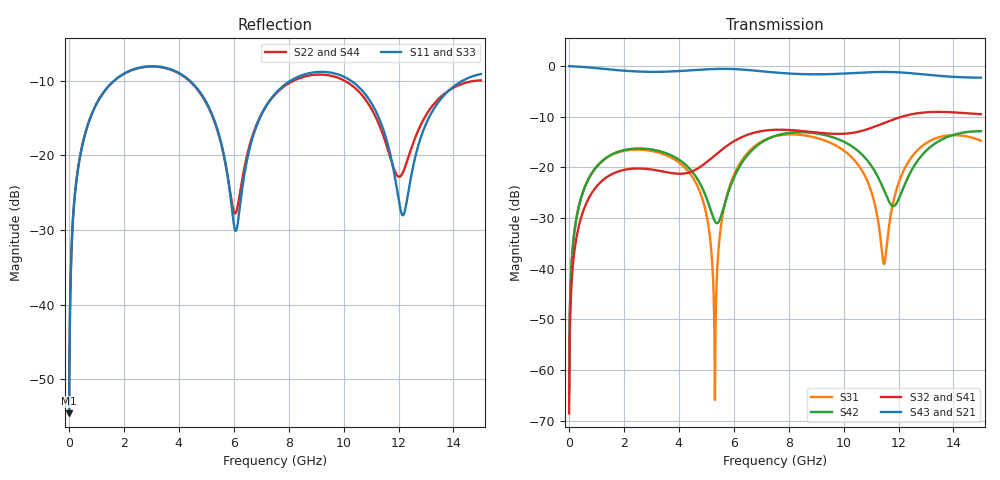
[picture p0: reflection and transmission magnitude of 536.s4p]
! Created with skrf 1.8.0 (http://scikit-rf.org).
# GHz S RI R 50.0
!freq ReS11 ImS11 ReS12 ImS12 ReS13 ImS13
! ReS14 ImS14
! ReS21 ImS21 ReS22 ImS22 ReS23 ImS23
! ReS24 ImS24
! ReS31 ImS31 ReS32 ImS32 ReS33 ImS33
! ReS34 ImS34
! ReS41 ImS41 ReS42 ImS42 ReS43 ImS43
! ReS44 ImS44
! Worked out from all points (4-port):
!   2499 points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, 5 MHz to 15 GHz, reference 50 ohm
!   strongest paths, dB at 5 MHz, 3.476 GHz, 7.19 GHz, 11.1 GHz, 15 GHz:
!     S43: 0.0, -1.1, -1.1, -1.2, -2.3
!     S21: 0.0, -1.1, -1.1, -1.2, -2.3
!     S32: -68.6, -20.9, -12.7, -12.0, -9.5
!     S41: -68.6, -20.9, -12.7, -12.0, -9.5
!     S42: -64.6, -17.1, -14.5, -20.4, -12.8
!     S31: -64.6, -17.5, -14.4, -26.4, -14.7
!   lowest |S11| = -54.6 dB at 5 MHz (marker M1), VSWR 1.00, Z = 50.1 + j0.113 ohm
!   |S11| at or under -10 dB: start of sweep to 1.636 GHz; 4.408 GHz to 8.06 GHz (3.652 GHz wide, 58.6 % of centre); 10.28 GHz to 14.33 GHz (4.05 GHz wide, 32.9 % of centre)
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0.005  0.00148 0.00113  0.9985 -0.00289  7.38e-05 0.000583  -7.18e-05 -0.000366
       0.9985 -0.00289  0.00148 0.00113  -7.18e-05 -0.000366  7.39e-05 0.000583
       7.38e-05 0.000583  -7.18e-05 -0.000366  0.00148 0.00113  0.9985 -0.00289
       -7.18e-05 -0.000366  7.39e-05 0.000583  0.9985 -0.00289  0.00148 0.00113
1.519383  0.2349 0.1894  0.6243 -0.6821  0.1094 0.0722  -0.0825 -0.0182
          0.6243 -0.6821  0.2332 0.1903  -0.0826 -0.0181  0.1149 0.0661
          0.1094 0.0722  -0.0826 -0.0181  0.2348 0.1894  0.6244 -0.682
          -0.0825 -0.0182  0.1149 0.0661  0.6244 -0.682  0.2332 0.1902
4.495455  0.2378 -0.1913  -0.5635 -0.7152  0.0592 -0.0543  -0.0508 0.0757
          -0.5635 -0.7152  0.2414 -0.1814  -0.05 0.0767  0.0396 -0.0809
          0.0592 -0.0543  -0.05 0.0767  0.2373 -0.1906  -0.5637 -0.7153
          -0.0508 0.0757  0.0396 -0.0809  -0.5637 -0.7153  0.2407 -0.1813
5.314714  0.0851 -0.1449  -0.8354 -0.4235  0.00048 0.000159  -0.0564 0.119
          -0.8354 -0.4235  0.0926 -0.1363  -0.0548 0.1198  -0.025 -0.0154
          0.00048 0.000159  -0.0548 0.1198  0.0848 -0.1439  -0.8356 -0.4235
          -0.0564 0.119  -0.025 -0.0154  -0.8356 -0.4235  0.092 -0.1355
6.915381  0.1149 0.1282  -0.8231 0.3511  0.1104 0.1337  0.1185 0.1915
          -0.8231 0.3511  0.1218 0.1254  0.1211 0.1904  0.1079 0.13
          0.1104 0.1337  0.1211 0.1904  0.1143 0.1287  -0.8232 0.3508
          0.1185 0.1915  0.1079 0.13  -0.8232 0.3508  0.1227 0.1262
11.47353  0.0783 -0.1214  0.7641 0.4274  0.0109 0.00203  0.1293 -0.2419
          0.7641 0.4274  0.098 -0.0872  0.1217 -0.2461  -0.0423 -0.0418
          0.0109 0.00203  0.1217 -0.2461  0.0797 -0.1163  0.7643 0.4284
          0.1293 -0.2419  -0.0423 -0.0418  0.7643 0.4284  0.0927 -0.0859
15  0.3494 0.0364  0.2363 -0.7317  0.1793 -0.04  -0.3318 -0.035
    0.2363 -0.7317  0.3183 0.0174  -0.3344 -0.0236  0.1897 -0.1262
    0.1793 -0.04  -0.3344 -0.0236  0.3484 0.0356  0.24 -0.7304
    -0.3318 -0.035  0.1897 -0.1262  0.24 -0.7304  0.3207 0.0214
